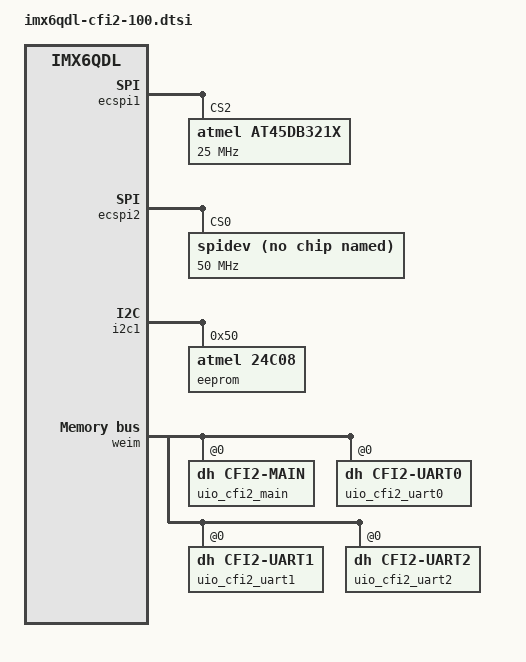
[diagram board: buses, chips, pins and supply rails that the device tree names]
/*
 * Copyright 2014 DH electronics GmbH
 * Copyright 2012 Freescale Semiconductor, Inc.
 * Copyright 2011 Linaro Ltd.
 *
 * The code contained herein is licensed under the GNU General Public
 * License. You may obtain a copy of the GNU General Public License
 * Version 2 or later at the following locations:
 *
 * http://www.opensource.org/licenses/gpl-license.html
 * http://www.gnu.org/copyleft/gpl.html
 */

/ {
};

&ecspi1 {									// ********** SPI 1 **********
	//pinctrl-0 = <&pinctrl_ecspi1_1>;					// DSE 40 Ohm
	pinctrl-0 = <&pinctrl_ecspi1_3>;					// DSE 60 Ohm
	at45db321x@2 {
		#address-cells = <1>;
		#size-cells = <1>;
		compatible = "atmel,at45db321x", "atmel,at45", "atmel,dataflash";
		spi-max-frequency = <25000000>;
		reg = <2>;							// SS2
	};
};

&ecspi2 {									// ********** SPI 2 **********
	spidev@0 {								// ==> /dev/spidev1.0
		compatible = "spidev";
		reg = <0>;							// SS0
		spi-max-frequency = <50000000>;
		spi-cpha;							// Shifted clock phase (CPHA) mode
		spi-cpol;							// Inverse clock polarity (CPOL) mode
	};
};

&i2c1 {										// ********** I2C 1 **********
										// ==> /dev/i2c-0
	eeprom@50 {								// Storing boot configuration
		compatible = "atmel,24c08";
		reg = <0x50>;
		pagesize = <16>;
	};
};

&weim {
	pinctrl-names = "default";
	pinctrl-0 = <&pinctrl_weim_dhcom_1 &pinctrl_weim_cs0_1>;
	#address-cells = <2>;
	#size-cells = <1>;
	/* it is necessary to setup 2x 64MB otherwise setting gpr fails */
	ranges = <0 0  0x08000000  0x04000000>, // Chipselect A -> CFI2 FPGA
		 <1 0  0x0c000000  0x04000000>; // Chipselect B -> CFI2 FPGA
	fsl,weim-cs-gpr = <&gpr>;
	status = "okay";

	uio_cfi2_main@0,0 {
		compatible = "dh,cfi2-main";
		reg = <0 0x00000000 0x02000>,
		      <0 0x00002000 0x02000>,
		      <0 0x0000a000 0x01000>;
		reg-names = "cfi2_general", "cfi2_misc", "cfi2_mux";
		#address-cells = <1>;
		#size-cells = <1>;
		fsl,weim-cs-timing = <0x00610089 0x00001002 0x1c023000
				      0x00000000 0x1C092680 0x00000000>;
	};

	uio_cfi2_uart0@0,0 {
		compatible = "dh,cfi2-uart0";
		reg = <0 0x00004000 0x02000>;
		reg-names = "cfi2_uart0";
		#address-cells = <1>;
		#size-cells = <1>;
		fsl,weim-cs-timing = <0x00610089 0x00001002 0x1c023000
				      0x00000000 0x1C092680 0x00000000>;
	};

	uio_cfi2_uart1@0,0 {
		compatible = "dh,cfi2-uart1";
		reg = <0 0x00006000 0x02000>;
		reg-names = "cfi2_uart1";
		#address-cells = <1>;
		#size-cells = <1>;
		fsl,weim-cs-timing = <0x00610089 0x00001002 0x1c023000
				      0x00000000 0x1C092680 0x00000000>;
	};

	uio_cfi2_uart2@0,0 {
		compatible = "dh,cfi2-uart2";
		reg = <0 0x00008000 0x02000>;
		reg-names = "cfi2_uart2";
		#address-cells = <1>;
		#size-cells = <1>;
		fsl,weim-cs-timing = <0x00610089 0x00001002 0x1c023000
				      0x00000000 0x1C092680 0x00000000>;
	};
};

&iomuxc {
	pinctrl-names = "default";
	pinctrl-0 = <&pinctrl_hog>;

	hog {
		pinctrl_hog: hoggrp {
			fsl,pins = <
				MX6QDL_PAD_GPIO_2__GPIO1_IO02      0x120B0    // GPIO A
				MX6QDL_PAD_GPIO_4__GPIO1_IO04      0x120B0    // GPIO B
				MX6QDL_PAD_GPIO_5__GPIO1_IO05      0x120B0    // GPIO C
				MX6QDL_PAD_CSI0_DAT17__GPIO6_IO03  0x120B0    // GPIO D
				MX6QDL_PAD_GPIO_19__GPIO4_IO05     0x120B0    // GPIO E
				MX6QDL_PAD_DI0_PIN4__GPIO4_IO20    0x120B0    // GPIO F
				MX6QDL_PAD_EIM_D27__GPIO3_IO27     0x120B0    // GPIO G
				MX6QDL_PAD_KEY_ROW0__GPIO4_IO07    0x120B0    // GPIO H
				MX6QDL_PAD_KEY_COL1__GPIO4_IO08    0x120B0    // GPIO I
				MX6QDL_PAD_NANDF_CS1__GPIO6_IO14   0x120B0    // GPIO J -> Interrupt UART2 (UIO)
				MX6QDL_PAD_NANDF_CS2__GPIO6_IO15   0x120B0    // GPIO K
				MX6QDL_PAD_KEY_ROW1__GPIO4_IO09    0x120B0    // GPIO L -> Interrupt UART0 (UIO)
				MX6QDL_PAD_SD3_DAT5__GPIO7_IO00    0x120B0    // GPIO M -> Interrupt UART1 (UIO)
				MX6QDL_PAD_SD3_DAT4__GPIO7_IO01    0x120B0    // GPIO N
				MX6QDL_PAD_CSI0_VSYNC__GPIO5_IO21  0x120B0    // GPIO O
				MX6QDL_PAD_GPIO_18__GPIO7_IO13     0x120B0    // GPIO P
				MX6QDL_PAD_SD1_CMD__GPIO1_IO18     0x120B0    // GPIO Q
				MX6QDL_PAD_SD1_DAT0__GPIO1_IO16    0x120B0    // GPIO R
				MX6QDL_PAD_SD1_DAT1__GPIO1_IO17    0x120B0    // GPIO S
				MX6QDL_PAD_SD1_DAT2__GPIO1_IO19    0x120B0    // GPIO T
				MX6QDL_PAD_SD1_CLK__GPIO1_IO20     0x120B0    // GPIO U
				MX6QDL_PAD_CSI0_PIXCLK__GPIO5_IO18 0x120B0    // GPIO V
				MX6QDL_PAD_CSI0_MCLK__GPIO5_IO19   0x120B0    // GPIO W
			>;
		};
	};
};
